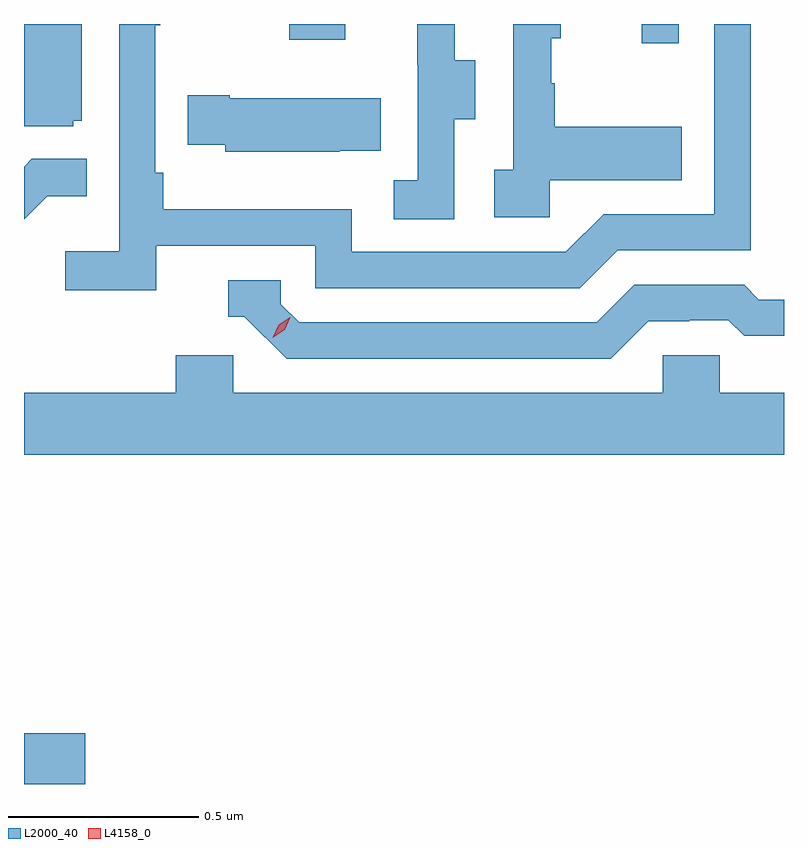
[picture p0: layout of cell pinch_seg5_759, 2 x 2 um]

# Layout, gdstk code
import gdstk
lib = gdstk.Library(unit=1e-6, precision=1e-09)
def R(c, l, rs):  # rectangles x0, y0, x1, y1
    for r in rs: c.add(gdstk.rectangle(r[:2], r[2:], *l))
def P(c, l, *ps):  # polygons
    for p in ps: c.add(gdstk.Polygon(p, *l))
L2000_40 = (2000, 40)
L4158_0 = (4158, 0)

pinch_seg5_759 = lib.new_cell('pinch_seg5_759')
R(pinch_seg5_759, L2000_40, [(867.98,907.842,868.141,907.976), (869.606,909.792,869.703,909.842), (868.678,909.801,868.825,909.842)])
P(pinch_seg5_759, L2000_40, [(868.11,909.588),(868.132,909.588),(868.132,909.842),(867.98,909.842),(867.98,909.573),(868.11,909.573)],
  [(868.328,909.258),(868.746,909.258),(868.746,909.147),(869.443,909.147),(869.542,909.246),(869.892,909.246),(869.892,909.842),(869.796,909.842),(869.796,909.342),(869.505,909.342),(869.406,909.243),(868.842,909.243),(868.842,909.355),(868.346,909.355),(868.346,909.451),(868.326,909.451),(868.326,909.839),(868.339,909.839),(868.339,909.842),(868.23,909.842),(868.23,909.244),(868.089,909.244),(868.089,909.142),(868.328,909.142)],
  [(869.112,909.592),(869.167,909.592),(869.167,909.747),(869.113,909.747),(869.113,909.842),(869.015,909.842),(869.015,909.735),(869.016,909.735),(869.016,909.431),(868.953,909.431),(868.953,909.328),(869.112,909.328)],
  [(869.364,909.431),(869.711,909.431),(869.711,909.571),(869.377,909.571),(869.377,909.686),(869.367,909.686),(869.367,909.804),(869.392,909.804),(869.392,909.842),(869.268,909.842),(869.268,909.458),(869.217,909.458),(869.217,909.333),(869.364,909.333)],
  [(868.811,909.509),(868.919,909.509),(868.919,909.646),(868.522,909.646),(868.522,909.654),(868.411,909.654),(868.411,909.524),(868.509,909.524),(868.509,909.506),(868.811,909.506)],
  [(868.041,909.389),(868.145,909.389),(868.145,909.488),(868.001,909.488),(867.98,909.467),(867.98,909.328)],
  [(869.623,909.06),(869.73,909.06),(869.73,909.063),(869.833,909.063),(869.875,909.021),(869.98,909.021),(869.98,909.117),(869.914,909.117),(869.875,909.156),(869.586,909.156),(869.487,909.057),(868.704,909.057),(868.656,909.105),(868.656,909.168),(868.517,909.168),(868.517,909.072),(868.56,909.072),(868.671,908.961),(869.524,908.961)],
  [(869.98,908.872),(869.811,908.872),(869.811,908.97),(869.661,908.97),(869.661,908.872),(868.53,908.872),(868.53,908.97),(868.379,908.97),(868.379,908.872),(867.98,908.872),(867.98,908.708),(869.98,908.708)])
P(pinch_seg5_759, L4158_0, [(868.635,909.017),(868.635,909.017),(868.65,909.05),(868.68,909.07),(868.681,909.07),(868.681,909.07),(868.666,909.037),(868.635,909.017)])

lib.write_gds('pinch_seg5_759.gds')
